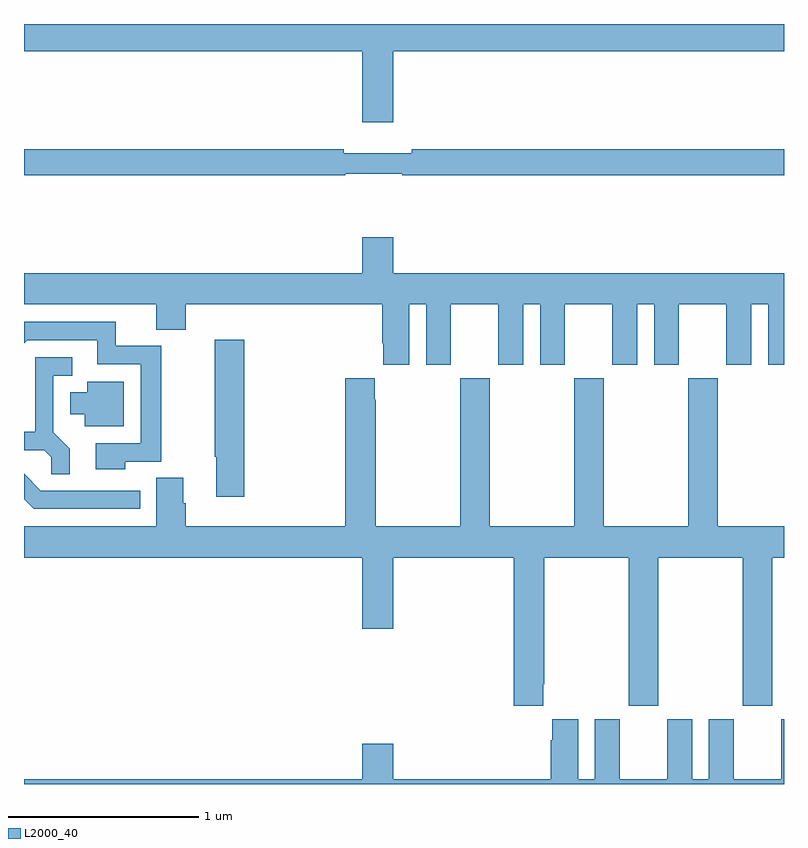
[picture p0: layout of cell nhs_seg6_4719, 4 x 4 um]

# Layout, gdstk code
import gdstk
lib = gdstk.Library(unit=1e-6, precision=1e-09)
def P(c, l, *ps):  # polygons
    for p in ps: c.add(gdstk.Polygon(p, *l))
L2000_40 = (2000, 40)

nhs_seg6_4719 = lib.new_cell('nhs_seg6_4719')
P(nhs_seg6_4719, L2000_40, [(392.944,927.356),(395,927.356),(395,927.5),(391,927.5),(391,927.356),(392.78,927.356),(392.78,926.982),(392.944,926.982)],
  [(392.692,926.712),(392.992,926.712),(392.992,926.704),(395,926.704),(395,926.84),(393.04,926.84),(393.04,926.821),(392.684,926.821),(392.684,926.84),(391,926.84),(391,926.704),(392.692,926.704)],
  [(393.028,926.024),(393.116,926.024),(393.116,925.707),(393.247,925.707),(393.247,926.024),(393.497,926.024),(393.497,925.707),(393.628,925.707),(393.628,926.024),(393.716,926.024),(393.716,925.707),(393.847,925.707),(393.847,926.024),(394.097,926.024),(394.097,925.707),(394.228,925.707),(394.228,926.024),(394.316,926.024),(394.316,925.707),(394.447,925.707),(394.447,926.024),(394.697,926.024),(394.697,925.707),(394.828,925.707),(394.828,926.024),(394.916,926.024),(394.916,925.707),(395,925.707),(395,926.188),(392.944,926.188),(392.944,926.377),(392.78,926.377),(392.78,926.188),(391,926.188),(391,926.024),(391.697,926.024),(391.697,925.891),(391.85,925.891),(391.85,926.024),(392.885,926.024),(392.885,925.819),(392.891,925.819),(392.891,925.707),(393.028,925.707)],
  [(391.533,925.197),(391.723,925.197),(391.723,925.806),(391.484,925.806),(391.484,925.932),(391,925.932),(391,925.819),(391.017,925.836),(391.385,925.836),(391.385,925.71),(391.614,925.71),(391.614,925.293),(391.377,925.293),(391.377,925.157),(391.533,925.157)],
  [(392.159,925.837),(392.005,925.837),(392.005,925.223),(392.012,925.223),(392.012,925.011),(392.159,925.011)],
  [(391.241,925.265),(391.155,925.351),(391.155,925.65),(391.255,925.65),(391.255,925.746),(391.058,925.746),(391.058,925.354),(391,925.354),(391,925.257),(391.106,925.257),(391.143,925.22),(391.143,925.129),(391.241,925.129)],
  [(393.733,924.025),(393.738,924.025),(393.738,924.692),(394.183,924.692),(394.183,923.913),(394.338,923.913),(394.338,924.692),(394.783,924.692),(394.783,923.913),(394.938,923.913),(394.938,924.692),(395,924.692),(395,924.856),(394.65,924.856),(394.65,925.636),(394.495,925.636),(394.495,924.856),(394.05,924.856),(394.05,925.636),(393.895,925.636),(393.895,924.856),(393.45,924.856),(393.45,925.636),(393.295,925.636),(393.295,924.856),(392.85,924.856),(392.85,925.523),(392.845,925.523),(392.845,925.636),(392.69,925.636),(392.69,924.856),(391.85,924.856),(391.85,924.978),(391.837,924.978),(391.837,925.112),(391.697,925.112),(391.697,924.856),(391,924.856),(391,924.692),(392.78,924.692),(392.78,924.318),(392.944,924.318),(392.944,924.692),(393.578,924.692),(393.578,923.913),(393.733,923.913)],
  [(391.525,925.618),(391.334,925.618),(391.334,925.561),(391.244,925.561),(391.244,925.445),(391.319,925.445),(391.319,925.382),(391.525,925.382)],
  [(391.612,925.044),(391.089,925.044),(391,925.133),(391,924.998),(391.05,924.948),(391.612,924.948)],
  [(395,923.842),(394.985,923.842),(394.985,923.524),(394.735,923.524),(394.735,923.842),(394.604,923.842),(394.604,923.524),(394.516,923.524),(394.516,923.842),(394.385,923.842),(394.385,923.524),(394.135,923.524),(394.135,923.842),(394.004,923.842),(394.004,923.524),(393.916,923.524),(393.916,923.842),(393.779,923.842),(393.779,923.729),(393.773,923.729),(393.773,923.524),(392.944,923.524),(392.944,923.713),(392.78,923.713),(392.78,923.524),(391,923.524),(391,923.5),(395,923.5)])

lib.write_gds('nhs_seg6_4719.gds')
